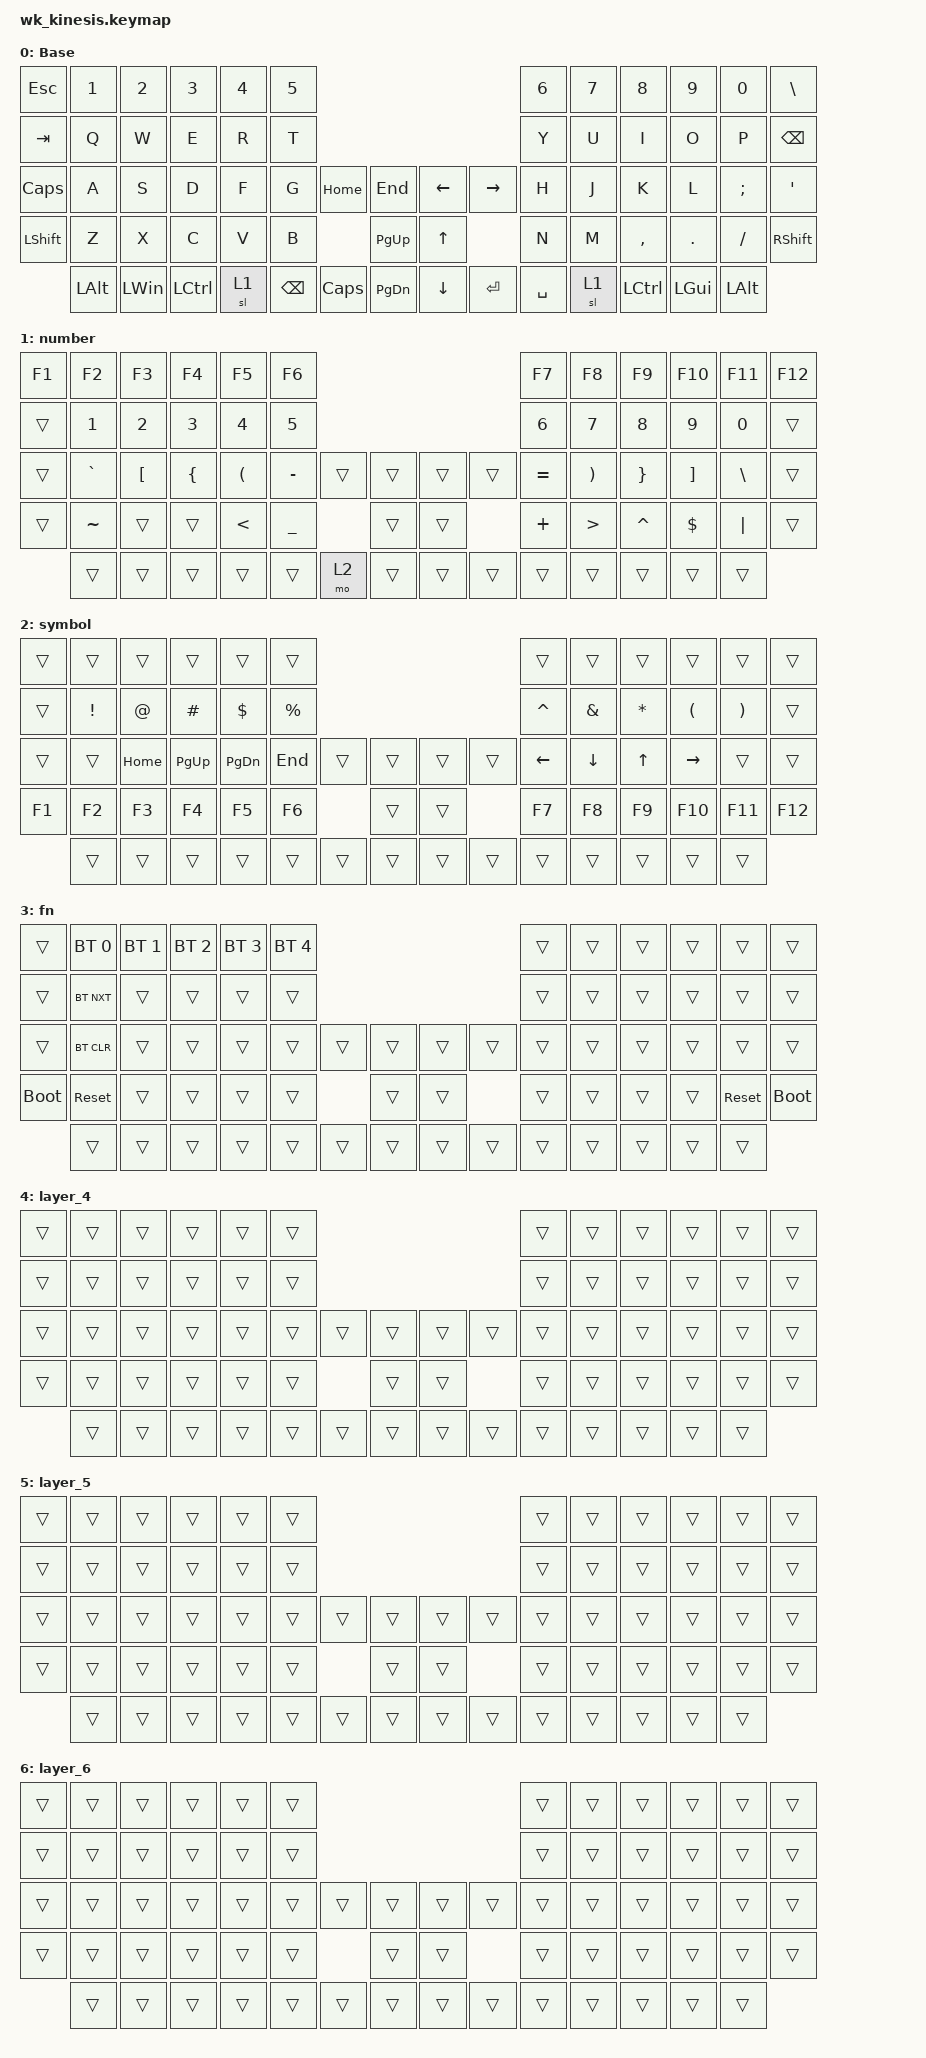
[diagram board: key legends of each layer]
#include <dt-bindings/zmk/mouse.h>
#include <behaviors.dtsi>
#include <dt-bindings/zmk/bt.h>
#include <dt-bindings/zmk/keys.h>

/ {
    behaviors {
        hm: homerow_mods {
            compatible = "zmk,behavior-hold-tap";
            label = "HOMEROW_MODS";
            #binding-cells = <2>;
            tapping-term-ms = <200>;
            quick_tap_ms = <175>;
            flavor = "tap-preferred";
            bindings = <&kp>, <&kp>;
        };
    };

    combos {
        compatible = "zmk,combos";

        both_shift {
            bindings = <&caps_word>;
            key-positions = <40 53>;
            layers = <0>;
        };
    };

    keymap {
        compatible = "zmk,keymap";

        default {
            display-name = "Base";
            bindings = <
&kp ESC    &kp N1        &kp N2        &kp N3            &kp N4  &kp N5                                                                                   &kp N6  &kp N7  &kp N8            &kp N9        &kp N0        &kp BACKSLASH
&kp TAB    &kp Q         &kp W         &kp E             &kp R   &kp T                                                                                    &kp Y   &kp U   &kp I             &kp O         &kp P         &kp BACKSPACE
&kp CAPS   &kp A         &kp S         &kp D             &kp F   &kp G                  &kp HOME  &kp END            &kp LEFT      &kp RIGHT              &kp H   &kp J   &kp K             &kp L         &kp SEMI      &kp SQT
&kp LSHFT  &kp Z         &kp X         &kp C             &kp V   &kp B                            &kp PG_UP          &kp UP_ARROW                         &kp N   &kp M   &kp COMMA         &kp DOT       &kp FSLH      &kp RIGHT_SHIFT
           &kp LEFT_ALT  &kp LEFT_WIN  &kp LEFT_CONTROL  &sl 1           &kp BACKSPACE  &kp CAPS  &kp PAGE_DOWN      &kp DOWN      &kp RETURN  &kp SPACE          &sl 1   &kp LEFT_CONTROL  &kp LEFT_GUI  &kp LEFT_ALT
            >;
        };

        number {
            bindings = <
&kp F1  &kp F2     &kp F3    &kp F4          &kp F5                &kp F6                                                         &kp F7     &kp F8                 &kp F9           &kp F10     &kp F11   &kp F12
&trans  &kp N1     &kp N2    &kp N3          &kp N4                &kp N5                                                         &kp N6     &kp N7                 &kp N8           &kp N9      &kp N0    &trans
&trans  &kp GRAVE  &kp LBKT  &kp LEFT_BRACE  &kp LEFT_PARENTHESIS  &kp MINUS          &trans  &trans      &trans  &trans          &kp EQUAL  &kp RIGHT_PARENTHESIS  &kp RIGHT_BRACE  &kp RBKT    &kp BSLH  &trans
&trans  &kp TILDE  &trans    &trans          &kp LESS_THAN         &kp UNDER                  &trans      &trans                  &kp PLUS   &kp GREATER_THAN       &kp CARET        &kp DOLLAR  &kp PIPE  &trans
        &trans     &trans    &trans          &trans                           &trans  &mo 2   &trans      &trans  &trans  &trans             &trans                 &trans           &trans      &trans
            >;
        };

        symbol {
            bindings = <
&trans  &trans    &trans    &trans       &trans         &trans                                                           &trans     &trans    &trans        &trans                &trans                 &trans
&trans  &kp EXCL  &kp AT    &kp HASH     &kp DOLLAR     &kp PERCENT                                                      &kp CARET  &kp AMPS  &kp STAR      &kp LEFT_PARENTHESIS  &kp RIGHT_PARENTHESIS  &trans
&trans  &trans    &kp HOME  &kp PAGE_UP  &kp PAGE_DOWN  &kp END              &trans  &trans      &trans  &trans          &kp LEFT   &kp DOWN  &kp UP_ARROW  &kp RIGHT             &trans                 &trans
&kp F1  &kp F2    &kp F3    &kp F4       &kp F5         &kp F6                       &trans      &trans                  &kp F7     &kp F8    &kp F9        &kp F10               &kp F11                &kp F12
        &trans    &trans    &trans       &trans                      &trans  &trans  &trans      &trans  &trans  &trans             &trans    &trans        &trans                &trans
            >;
        };

        fn {
            bindings = <
&trans       &bt BT_SEL 0  &bt BT_SEL 1  &bt BT_SEL 2  &bt BT_SEL 3  &bt BT_SEL 4                                                      &trans  &trans  &trans  &trans  &trans      &trans
&trans       &bt BT_NXT    &trans        &trans        &trans        &trans                                                            &trans  &trans  &trans  &trans  &trans      &trans
&trans       &bt BT_CLR    &trans        &trans        &trans        &trans                &trans  &trans      &trans  &trans          &trans  &trans  &trans  &trans  &trans      &trans
&bootloader  &sys_reset    &trans        &trans        &trans        &trans                        &trans      &trans                  &trans  &trans  &trans  &trans  &sys_reset  &bootloader
             &trans        &trans        &trans        &trans                      &trans  &trans  &trans      &trans  &trans  &trans          &trans  &trans  &trans  &trans
            >;
        };

        layer_4 {
            bindings = <
&trans  &trans  &trans  &trans  &trans  &trans                                                      &trans  &trans  &trans  &trans  &trans  &trans
&trans  &trans  &trans  &trans  &trans  &trans                                                      &trans  &trans  &trans  &trans  &trans  &trans
&trans  &trans  &trans  &trans  &trans  &trans          &trans  &trans      &trans  &trans          &trans  &trans  &trans  &trans  &trans  &trans
&trans  &trans  &trans  &trans  &trans  &trans                  &trans      &trans                  &trans  &trans  &trans  &trans  &trans  &trans
        &trans  &trans  &trans  &trans          &trans  &trans  &trans      &trans  &trans  &trans          &trans  &trans  &trans  &trans
            >;
        };

        layer_5 {
            bindings = <
&trans  &trans  &trans  &trans  &trans  &trans                                                      &trans  &trans  &trans  &trans  &trans  &trans
&trans  &trans  &trans  &trans  &trans  &trans                                                      &trans  &trans  &trans  &trans  &trans  &trans
&trans  &trans  &trans  &trans  &trans  &trans          &trans  &trans      &trans  &trans          &trans  &trans  &trans  &trans  &trans  &trans
&trans  &trans  &trans  &trans  &trans  &trans                  &trans      &trans                  &trans  &trans  &trans  &trans  &trans  &trans
        &trans  &trans  &trans  &trans          &trans  &trans  &trans      &trans  &trans  &trans          &trans  &trans  &trans  &trans
            >;
        };

        layer_6 {
            bindings = <
&trans  &trans  &trans  &trans  &trans  &trans                                                      &trans  &trans  &trans  &trans  &trans  &trans
&trans  &trans  &trans  &trans  &trans  &trans                                                      &trans  &trans  &trans  &trans  &trans  &trans
&trans  &trans  &trans  &trans  &trans  &trans          &trans  &trans      &trans  &trans          &trans  &trans  &trans  &trans  &trans  &trans
&trans  &trans  &trans  &trans  &trans  &trans                  &trans      &trans                  &trans  &trans  &trans  &trans  &trans  &trans
        &trans  &trans  &trans  &trans          &trans  &trans  &trans      &trans  &trans  &trans          &trans  &trans  &trans  &trans
            >;
        };
    };

    conditional_layers {
        compatible = "zmk,conditional-layers";

        fn {
            if-layers = <1 2>;
            then-layer = <3>;
        };
    };
};
